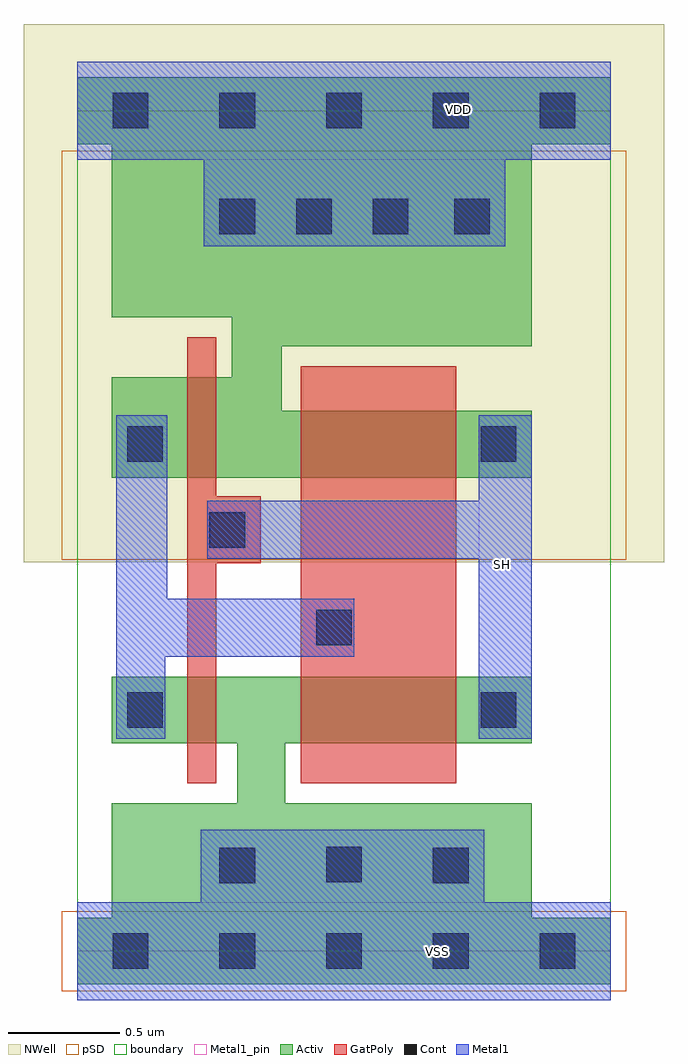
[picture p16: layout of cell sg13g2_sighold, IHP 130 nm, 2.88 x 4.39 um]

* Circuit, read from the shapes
.subckt sg13g2_sighold SH VDD VSS
XM1 VSS SH n1 VSS sg13_lv_nmos w=0.3u l=0.13u
XM2 SH n1 VSS VSS sg13_lv_nmos w=0.3u l=0.7u
XM3 VDD SH n1 VDD sg13_lv_pmos w=0.45u l=0.13u
XM4 SH n1 VDD VDD sg13_lv_pmos w=0.3u l=0.7u
.ends

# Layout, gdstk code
import gdstk
lib = gdstk.Library(unit=1e-6, precision=1e-09)
def R(c, l, rs):  # rectangles x0, y0, x1, y1
    for r in rs: c.add(gdstk.rectangle(r[:2], r[2:], *l))
def A(c, l, x, y, w, h, nx, ny, dx, dy):  # array of equal rectangles
    R(c, l, [(x+i*dx, y+j*dy, x+i*dx+w, y+j*dy+h) for i in range(nx) for j in range(ny)])
def P(c, l, *ps):  # polygons
    for p in ps: c.add(gdstk.Polygon(p, *l))
Activ = (1, 0)
GatPoly = (5, 0)
Cont = (6, 0)
Metal1 = (8, 0)
Metal1_pin = (8, 2)
pSD = (14, 0)
NWell = (31, 0)
boundary = (189, 4)

sg13g2_sighold = lib.new_cell('sg13g2_sighold')
P(sg13g2_sighold, Activ, [(0.155,2.13),(0.155,2.58),(0.695,2.58),(0.695,2.85),(0.155,2.85),(0.155,3.63),(0,3.63),(0,3.93),(2.4,3.93),(2.4,3.63),(2.045,3.63),(2.045,2.72),(0.92,2.72),(0.92,2.43),(2.045,2.43),(2.045,2.13)],
  [(0,-0.15),(0,0.15),(0.155,0.15),(0.155,0.665),(0.72,0.665),(0.72,0.935),(0.155,0.935),(0.155,1.235),(2.045,1.235),(2.045,0.935),(0.935,0.935),(0.935,0.665),(2.045,0.665),(2.045,0.15),(2.4,0.15),(2.4,-0.15)])
R(sg13g2_sighold, GatPoly, [(1.005,0.755,1.705,2.63)])
P(sg13g2_sighold, GatPoly, [(0.495,0.755),(0.495,2.76),(0.625,2.76),(0.625,2.045),(0.825,2.045),(0.825,1.745),(0.625,1.745),(0.625,0.755)])
A(sg13g2_sighold, Cont, 0.64, 3.225, 0.16, 0.16, 3, 1, 0.345, 0)
R(sg13g2_sighold, Cont, [(0.16,-0.08,0.32,0.08), (0.16,-0.08,0.32,0.08), (0.64,-0.08,0.8,0.08), (0.64,-0.08,0.8,0.08), (1.12,-0.08,1.28,0.08), (1.12,-0.08,1.28,0.08), (1.6,-0.08,1.76,0.08), (1.6,-0.08,1.76,0.08), (2.08,-0.08,2.24,0.08), (2.08,-0.08,2.24,0.08), (0.64,0.305,0.8,0.465), (1.6,0.305,1.76,0.465), (1.12,0.31,1.28,0.47), (0.225,1.005,0.385,1.165), (1.815,1.005,1.975,1.165), (1.075,1.375,1.235,1.535), (0.595,1.815,0.755,1.975), (0.225,2.2,0.385,2.36), (1.815,2.2,1.975,2.36), (1.695,3.225,1.855,3.385), (0.16,3.7,0.32,3.86), (0.16,3.7,0.32,3.86), (0.64,3.7,0.8,3.86), (0.64,3.7,0.8,3.86), (1.12,3.7,1.28,3.86), (1.12,3.7,1.28,3.86), (1.6,3.7,1.76,3.86), (1.6,3.7,1.76,3.86), (2.08,3.7,2.24,3.86), (2.08,3.7,2.24,3.86)])
P(sg13g2_sighold, Metal1, [(0.57,3.17),(0.57,3.56),(0,3.56),(0,4),(2.4,4),(2.4,3.56),(1.925,3.56),(1.925,3.17)],
  [(0,-0.22),(0,0.22),(0.555,0.22),(0.555,0.545),(1.83,0.545),(1.83,0.22),(2.4,0.22),(2.4,-0.22)],
  [(1.805,0.955),(1.805,1.765),(0.585,1.765),(0.585,2.025),(1.805,2.025),(1.805,2.41),(2.045,2.41),(2.045,0.955)],
  [(0.175,0.955),(0.175,2.41),(0.405,2.41),(0.405,1.585),(1.245,1.585),(1.245,1.325),(0.395,1.325),(0.395,0.955)])
R(sg13g2_sighold, Metal1_pin, [(0,-0.22,2.4,0.22), (1.805,0.955,2.045,2.41), (0,3.56,2.4,4)])
R(sg13g2_sighold, pSD, [(-0.07,-0.18,2.47,0.18), (-0.07,1.76,2.47,3.6)])
R(sg13g2_sighold, NWell, [(-0.24,1.75,2.64,4.17)])
R(sg13g2_sighold, boundary, [(0,0,2.4,3.78)])
sg13g2_sighold.add(gdstk.Label('SH', (1.915,1.74), layer=8, texttype=25))
sg13g2_sighold.add(gdstk.Label('VDD', (1.715,3.785), layer=8, texttype=25))
sg13g2_sighold.add(gdstk.Label('VSS', (1.62,0), layer=8, texttype=25))

lib.write_gds('sg13g2_sighold.gds')
